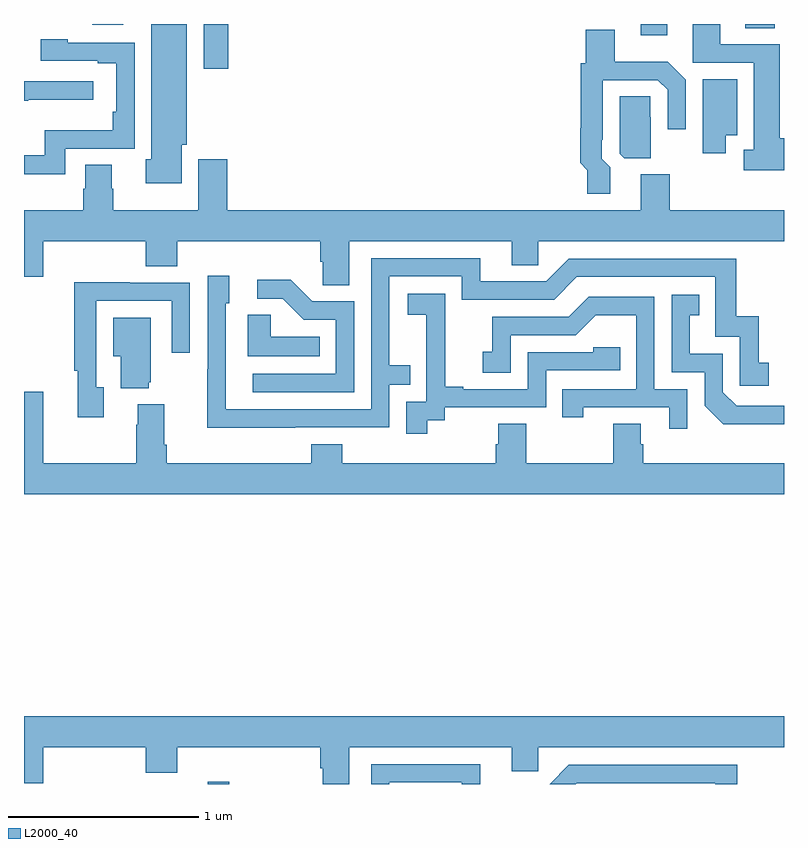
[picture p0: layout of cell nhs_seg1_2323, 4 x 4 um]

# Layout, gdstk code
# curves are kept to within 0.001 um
import gdstk
lib = gdstk.Library(unit=1e-6, precision=1e-09)
def R(c, l, rs):  # rectangles x0, y0, x1, y1
    for r in rs: c.add(gdstk.rectangle(r[:2], r[2:], *l))
def P(c, l, *ps):  # polygons
    for p in ps: c.add(gdstk.Polygon(p, *l))
L2000_40 = (2000, 40)

nhs_seg1_2323 = lib.new_cell('nhs_seg1_2323')
R(nhs_seg1_2323, L2000_40, [(237.966,558.199,238.081,558.211), (237.947,561.963,238.076,562.199), (240.245,562.14,240.385,562.199), (240.797,562.177,240.95,562.199), (237.359,562.194,237.523,562.199)])
P(nhs_seg1_2323, L2000_40, [(237.829,561.564),(237.856,561.564),(237.856,562.199),(237.671,562.199),(237.671,561.488),(237.641,561.488),(237.641,561.362),(237.829,561.362)],
  [(241,561.599),(240.977,561.599),(240.977,562.092),(240.664,562.092),(240.664,562.199),(240.521,562.199),(240.521,561.996),(240.842,561.996),(240.842,561.538),(240.789,561.538),(240.789,561.429),(241,561.429)],
  [(240.085,561.446),(240.042,561.489),(240.042,561.589),(240.045,561.589),(240.045,561.903),(240.336,561.903),(240.387,561.852),(240.387,561.645),(240.483,561.645),(240.483,561.906),(240.389,562),(240.109,562),(240.109,562.168),(239.957,562.168),(239.957,561.993),(239.929,561.993),(239.929,561.65),(239.927,561.65),(239.927,561.468),(239.965,561.429),(239.965,561.306),(240.085,561.306)],
  [(237.216,561.543),(237.582,561.543),(237.582,562.101),(237.231,562.101),(237.231,562.12),(237.087,562.12),(237.087,562.005),(237.389,562.005),(237.389,561.993),(237.486,561.993),(237.486,561.736),(237.466,561.736),(237.466,561.64),(237.108,561.64),(237.108,561.509),(237,561.509),(237,561.407),(237.216,561.407)],
  [(240.694,561.614),(240.754,561.614),(240.754,561.907),(240.572,561.907),(240.572,561.519),(240.694,561.519)],
  [(237.023,561.8),(237.364,561.8),(237.364,561.897),(237,561.897),(237,561.796),(237.023,561.796)],
  [(240.298,561.707),(240.297,561.707),(240.297,561.818),(240.135,561.818),(240.135,561.516),(240.159,561.493),(240.298,561.493)],
  [(238.711,561.056),(239.567,561.056),(239.567,560.929),(239.706,560.929),(239.706,561.056),(241,561.056),(241,561.22),(240.398,561.22),(240.398,561.408),(240.245,561.408),(240.245,561.22),(238.07,561.22),(238.07,561.487),(237.917,561.487),(237.917,561.22),(237.471,561.22),(237.471,561.333),(237.463,561.333),(237.463,561.458),(237.323,561.458),(237.323,561.333),(237.311,561.333),(237.311,561.22),(237,561.22),(237,560.868),(237.1,560.868),(237.1,561.056),(237.641,561.056),(237.641,560.923),(237.806,560.923),(237.806,561.056),(238.559,561.056),(238.559,560.947),(238.572,560.947),(238.572,560.824),(238.711,560.824)],
  [(238.427,560.076),(238.923,560.076),(238.923,560.301),(239.033,560.301),(239.033,560.402),(238.923,560.402),(238.923,560.871),(239.304,560.871),(239.304,560.748),(239.79,560.748),(239.91,560.868),(240.639,560.868),(240.639,560.553),(240.768,560.553),(240.768,560.295),(240.919,560.295),(240.919,560.415),(240.866,560.415),(240.866,560.662),(240.748,560.662),(240.748,560.964),(239.868,560.964),(239.748,560.844),(239.401,560.844),(239.401,560.967),(238.827,560.967),(238.827,560.172),(238.062,560.172),(238.062,560.73),(238.081,560.73),(238.081,560.875),(237.966,560.875),(237.966,560.381),(237.964,560.381),(237.964,560.075)],
  [(238.737,560.739),(238.518,560.739),(238.405,560.852),(238.227,560.852),(238.227,560.754),(238.361,560.754),(238.472,560.643),(238.641,560.643),(238.641,560.358),(238.203,560.358),(238.203,560.262),(238.737,560.262)],
  [(237.421,560.286),(237.381,560.286),(237.381,560.742),(237.777,560.742),(237.777,560.469),(237.873,560.469),(237.873,560.838),(237.557,560.838),(237.557,560.84),(237.265,560.84),(237.265,560.374),(237.284,560.374),(237.284,560.13),(237.421,560.13)],
  [(239.122,560.113),(239.214,560.113),(239.214,560.181),(239.748,560.181),(239.748,560.376),(240.137,560.376),(240.137,560.499),(239.997,560.499),(239.997,560.472),(239.652,560.472),(239.652,560.277),(239.311,560.277),(239.311,560.29),(239.216,560.29),(239.216,560.573),(239.217,560.573),(239.217,560.779),(239.019,560.779),(239.019,560.669),(239.117,560.669),(239.117,560.441),(239.118,560.441),(239.118,560.211),(239.013,560.211),(239.013,560.043),(239.122,560.043)],
  [(241,560.19),(240.75,560.19),(240.678,560.262),(240.678,560.463),(240.505,560.463),(240.505,560.667),(240.554,560.667),(240.554,560.773),(240.408,560.773),(240.408,560.367),(240.582,560.367),(240.582,560.19),(240.68,560.093),(241,560.093)],
  [(240.492,560.277),(240.318,560.277),(240.318,560.763),(239.972,560.763),(239.867,560.658),(239.464,560.658),(239.464,560.473),(239.415,560.473),(239.415,560.364),(239.562,560.364),(239.562,560.562),(239.904,560.562),(240.008,560.666),(240.222,560.666),(240.222,560.277),(239.833,560.277),(239.833,560.13),(239.944,560.13),(239.944,560.181),(240.395,560.181),(240.395,560.07),(240.492,560.07)],
  [(238.556,560.554),(238.299,560.554),(238.299,560.669),(238.178,560.669),(238.178,560.45),(238.556,560.45)],
  [(237.656,560.313),(237.667,560.313),(237.667,560.653),(237.47,560.653),(237.47,560.45),(237.509,560.45),(237.509,560.282),(237.656,560.282)],
  [(241,559.888),(240.26,559.888),(240.26,559.986),(240.247,559.986),(240.247,560.096),(240.1,560.096),(240.1,559.888),(239.643,559.888),(239.643,560.096),(239.495,560.096),(239.495,559.986),(239.483,559.986),(239.483,559.888),(238.676,559.888),(238.676,559.987),(238.511,559.987),(238.511,559.888),(237.752,559.888),(237.752,559.984),(237.739,559.984),(237.739,560.197),(237.599,560.197),(237.599,560.09),(237.592,560.09),(237.592,559.888),(237.1,559.888),(237.1,560.263),(237,560.263),(237,559.724),(241,559.724)],
  [(238.711,558.392),(239.567,558.392),(239.567,558.265),(239.706,558.265),(239.706,558.392),(241,558.392),(241,558.556),(237,558.556),(237,558.204),(237.1,558.204),(237.1,558.392),(237.641,558.392),(237.641,558.259),(237.806,558.259),(237.806,558.392),(238.559,558.392),(238.559,558.283),(238.572,558.283),(238.572,558.199),(238.711,558.199)],
  [(238.923,558.207),(239.304,558.207),(239.304,558.199),(239.401,558.199),(239.401,558.303),(238.827,558.303),(238.827,558.199),(238.923,558.199)],
  [(239.91,558.204),(240.639,558.204),(240.639,558.199),(240.755,558.199),(240.755,558.3),(239.868,558.3),(239.767,558.199),(239.905,558.199)])

lib.write_gds('nhs_seg1_2323.gds')
